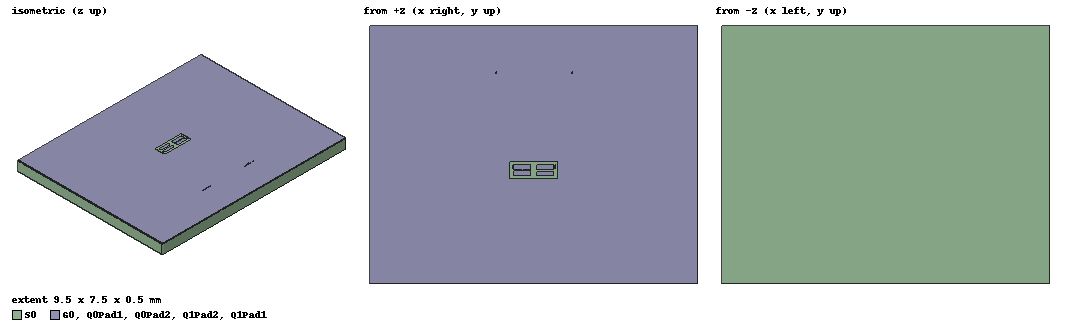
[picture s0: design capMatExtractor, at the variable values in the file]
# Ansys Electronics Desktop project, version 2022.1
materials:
  vacuum: permittivity=1
  copper: permeability=0.999991 conductivity=58000000
  silicon: permittivity=11.9
  perfect conductor: conductivity=1e+30

design capMatExtractor (Q3D Extractor, model units mm)
options: SParamCalcMethod=EqTransLine Calculate_Lossy_Dielectrics
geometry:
  S0 [silicon] = polyline(z=0um, xy in um: (-4750, -3750) (-4750, 3750) (4750, 3750) (4750, -3750) (-4750, -3750), closed, covered)
  S0.sweep_along_vector((0mm, 0mm, 500um))
  G0 [perfect conductor] = polyline(z=500um, xy in um: (-4750, -3750) (-4750, 3750) (4750, 3750) (4750, -3750) (-4750, -3750), closed, covered)
  Q0Pad1 [perfect conductor] = polyline(z=500um, xy in um: (-581, -439) (-581, -299) (-81, -299) (-81, -439) (-329, -439) (-329, -450) (-333, -450) (-333, -439) (-581, -439), closed, covered)
  Q0Pad1TrenchComponent = polyline(z=499.9um, xy in um: (-581, -439) (-581, -299) (-81, -299) (-81, -439) (-329, -439) (-329, -450) (-333, -450) (-333, -439) (-581, -439), closed, covered)
  Q0Pad1TrenchPeriphery0 = polyline(z=499.9um, xy in um: (-681, -539) (-681, -199) (19, -199) (19, -539) (-681, -539), closed, covered)
  Q0Pad1TrenchPeriphery1 = polyline(z=499.9um, xy in um: (-333, -450) (-333, -439) (-329, -439) (-329, -450) (-333, -450), closed, covered)
  Q0Pad1TrenchPeriphery0.sweep_along_vector((0mm, 0mm, 0.1um))
  S0.subtract(Q0Pad1TrenchPeriphery0)
  Q0Pad1TrenchPeriphery1.sweep_along_vector((0mm, 0mm, 0.1um))
  S0.subtract(Q0Pad1TrenchPeriphery1)
  Q0Pad1periphery0 = polyline(z=500um, xy in um: (-681, -539) (-681, -199) (19, -199) (19, -539) (-681, -539), closed, covered)
  G0.subtract(Q0Pad1periphery0)
  Q0Pad1periphery1 = polyline(z=500um, xy in um: (-333, -450) (-333, -439) (-329, -439) (-329, -450) (-333, -450), closed, covered)
  G0.subtract(Q0Pad1periphery1)
  Q0Pad2 [perfect conductor] = polyline(z=500um, xy in um: (-81, -469) (-81, -609) (-581, -609) (-581, -469) (-333, -469) (-333, -458) (-329, -458) (-329, -469) (-81, -469), closed, covered)
  Q0Pad2TrenchComponent = polyline(z=499.9um, xy in um: (-81, -469) (-81, -609) (-581, -609) (-581, -469) (-333, -469) (-333, -458) (-329, -458) (-329, -469) (-81, -469), closed, covered)
  Q0Pad2TrenchPeriphery0 = polyline(z=499.9um, xy in um: (19, -369) (19, -709) (-681, -709) (-681, -369) (19, -369), closed, covered)
  Q0Pad2TrenchPeriphery1 = polyline(z=499.9um, xy in um: (-329, -458) (-329, -469) (-333, -469) (-333, -458) (-329, -458), closed, covered)
  Q0Pad2TrenchPeriphery0.sweep_along_vector((0mm, 0mm, 0.1um))
  S0.subtract(Q0Pad2TrenchPeriphery0)
  Q0Pad2TrenchPeriphery1.sweep_along_vector((0mm, 0mm, 0.1um))
  S0.subtract(Q0Pad2TrenchPeriphery1)
  Q0Pad2periphery0 = polyline(z=500um, xy in um: (19, -369) (19, -709) (-681, -709) (-681, -369) (19, -369), closed, covered)
  G0.subtract(Q0Pad2periphery0)
  Q0Pad2periphery1 = polyline(z=500um, xy in um: (-329, -458) (-329, -469) (-333, -469) (-333, -458) (-329, -458), closed, covered)
  G0.subtract(Q0Pad2periphery1)
  Q1Pad1 [perfect conductor] = polyline(z=500um, xy in um: (81, -421) (81, -301) (581, -301) (581, -421) (333, -421) (333, -450) (329, -450) (329, -421) (81, -421), closed, covered)
  Q1Pad1TrenchComponent = polyline(z=499.9um, xy in um: (81, -421) (81, -301) (581, -301) (581, -421) (333, -421) (333, -450) (329, -450) (329, -421) (81, -421), closed, covered)
  Q1Pad1TrenchPeriphery0 = polyline(z=499.9um, xy in um: (-19, -521) (-19, -201) (681, -201) (681, -521) (-19, -521), closed, covered)
  Q1Pad1TrenchPeriphery1 = polyline(z=499.9um, xy in um: (329, -450) (329, -421) (333, -421) (333, -450) (329, -450), closed, covered)
  Q1Pad1TrenchPeriphery0.sweep_along_vector((0mm, 0mm, 0.1um))
  S0.subtract(Q1Pad1TrenchPeriphery0)
  Q1Pad1TrenchPeriphery1.sweep_along_vector((0mm, 0mm, 0.1um))
  S0.subtract(Q1Pad1TrenchPeriphery1)
  Q1Pad1periphery0 = polyline(z=500um, xy in um: (-19, -521) (-19, -201) (681, -201) (681, -521) (-19, -521), closed, covered)
  G0.subtract(Q1Pad1periphery0)
  Q1Pad1periphery1 = polyline(z=500um, xy in um: (329, -450) (329, -421) (333, -421) (333, -450) (329, -450), closed, covered)
  G0.subtract(Q1Pad1periphery1)
  Q1Pad2 [perfect conductor] = polyline(z=500um, xy in um: (581, -487) (581, -607) (81, -607) (81, -487) (329, -487) (329, -458) (333, -458) (333, -487) (581, -487), closed, covered)
  Q1Pad2TrenchComponent = polyline(z=499.9um, xy in um: (581, -487) (581, -607) (81, -607) (81, -487) (329, -487) (329, -458) (333, -458) (333, -487) (581, -487), closed, covered)
  Q1Pad2TrenchPeriphery0 = polyline(z=499.9um, xy in um: (681, -387) (681, -707) (-19, -707) (-19, -387) (681, -387), closed, covered)
  Q1Pad2TrenchPeriphery1 = polyline(z=499.9um, xy in um: (333, -458) (333, -487) (329, -487) (329, -458) (333, -458), closed, covered)
  Q1Pad2TrenchPeriphery0.sweep_along_vector((0mm, 0mm, 0.1um))
  S0.subtract(Q1Pad2TrenchPeriphery0)
  Q1Pad2TrenchPeriphery1.sweep_along_vector((0mm, 0mm, 0.1um))
  S0.subtract(Q1Pad2TrenchPeriphery1)
  Q1Pad2periphery0 = polyline(z=500um, xy in um: (681, -387) (681, -707) (-19, -707) (-19, -387) (681, -387), closed, covered)
  G0.subtract(Q1Pad2periphery0)
  Q1Pad2periphery1 = polyline(z=500um, xy in um: (333, -458) (333, -487) (329, -487) (329, -458) (333, -458), closed, covered)
  G0.subtract(Q1Pad2periphery1)
  R0Pad1 [perfect conductor] = polyline(z=500um, xy in um: (-1295.54, 2396) (-1295.54, 2406) (-895.54, 2406) (-895.54, 2396) (-1090.54, 2396) (-1090.54, 2346) (-1100.54, 2346) (-1100.54, 2396) (-1295.54, 2396), closed, covered)
  R0Pad1TrenchComponent = polyline(z=499.9um, xy in um: (-1295.54, 2396) (-1295.54, 2406) (-895.54, 2406) (-895.54, 2396) (-1090.54, 2396) (-1090.54, 2346) (-1100.54, 2346) (-1100.54, 2396) (-1295.54, 2396), closed, covered)
  R0Pad1TrenchPeriphery0 = polyline(z=499.9um, xy in um: (-1319.54, 2390) (-1319.54, 2412) (-871.54, 2412) (-871.54, 2390) (-1319.54, 2390), closed, covered)
  R0Pad1TrenchPeriphery1 = polyline(z=499.9um, xy in um: (-1106.54, 2340) (-1106.54, 2402) (-1084.54, 2402) (-1084.54, 2340) (-1106.54, 2340), closed, covered)
  R0Pad1TrenchPeriphery0.sweep_along_vector((0mm, 0mm, 0.1um))
  S0.subtract(R0Pad1TrenchPeriphery0)
  R0Pad1TrenchPeriphery1.sweep_along_vector((0mm, 0mm, 0.1um))
  S0.subtract(R0Pad1TrenchPeriphery1)
  R0Pad1periphery0 = polyline(z=500um, xy in um: (-1319.54, 2390) (-1319.54, 2412) (-871.54, 2412) (-871.54, 2390) (-1319.54, 2390), closed, covered)
  G0.subtract(R0Pad1periphery0)
  R0Pad1periphery1 = polyline(z=500um, xy in um: (-1106.54, 2340) (-1106.54, 2402) (-1084.54, 2402) (-1084.54, 2340) (-1106.54, 2340), closed, covered)
  G0.subtract(R0Pad1periphery1)
  R0Pad2 [perfect conductor] = polyline(z=500um, xy in um: (-619.01487, -300.56622) (-589.01487, -300.56911) (-589.0245, -400.56911) (-619.0245, -400.56622) (-619.02017, -355.56622) (-669.02017, -355.5614) (-669.0192, -345.5614) (-619.0192, -345.56622) (-619.01487, -300.56622), closed, covered)
  R0Pad2TrenchComponent = polyline(z=499.9um, xy in um: (-619.01487, -300.56622) (-589.01487, -300.56911) (-589.0245, -400.56911) (-619.0245, -400.56622) (-619.02017, -355.56622) (-669.02017, -355.5614) (-669.0192, -345.5614) (-619.0192, -345.56622) (-619.01487, -300.56622), closed, covered)
  R0Pad2TrenchPeriphery0 = polyline(z=499.9um, xy in um: (-649.01198, -270.56333) (-559.01198, -270.572) (-559.02739, -430.572) (-649.02739, -430.56333) (-649.01198, -270.56333), closed, covered)
  R0Pad2TrenchPeriphery1 = polyline(z=499.9um, xy in um: (-675.01862, -339.56083) (-613.01862, -339.5668) (-613.02074, -361.5668) (-675.02074, -361.56083) (-675.01862, -339.56083), closed, covered)
  R0Pad2TrenchPeriphery0.sweep_along_vector((0mm, 0mm, 0.1um))
  S0.subtract(R0Pad2TrenchPeriphery0)
  R0Pad2TrenchPeriphery1.sweep_along_vector((0mm, 0mm, 0.1um))
  S0.subtract(R0Pad2TrenchPeriphery1)
  R0Pad2periphery0 = polyline(z=500um, xy in um: (-649.01198, -270.56333) (-559.01198, -270.572) (-559.02739, -430.572) (-649.02739, -430.56333) (-649.01198, -270.56333), closed, covered)
  G0.subtract(R0Pad2periphery0)
  R0Pad2periphery1 = polyline(z=500um, xy in um: (-675.01862, -339.56083) (-613.01862, -339.5668) (-613.02074, -361.5668) (-675.02074, -361.56083) (-675.01862, -339.56083), closed, covered)
  G0.subtract(R0Pad2periphery1)
  R1Pad1 [perfect conductor] = polyline(z=500um, xy in um: (916, 2396) (916, 2406) (1316, 2406) (1316, 2396) (1121, 2396) (1121, 2346) (1111, 2346) (1111, 2396) (916, 2396), closed, covered)
  R1Pad1TrenchComponent = polyline(z=499.9um, xy in um: (916, 2396) (916, 2406) (1316, 2406) (1316, 2396) (1121, 2396) (1121, 2346) (1111, 2346) (1111, 2396) (916, 2396), closed, covered)
  R1Pad1TrenchPeriphery0 = polyline(z=499.9um, xy in um: (892, 2390) (892, 2412) (1340, 2412) (1340, 2390) (892, 2390), closed, covered)
  R1Pad1TrenchPeriphery1 = polyline(z=499.9um, xy in um: (1105, 2340) (1105, 2402) (1127, 2402) (1127, 2340) (1105, 2340), closed, covered)
  R1Pad1TrenchPeriphery0.sweep_along_vector((0mm, 0mm, 0.1um))
  S0.subtract(R1Pad1TrenchPeriphery0)
  R1Pad1TrenchPeriphery1.sweep_along_vector((0mm, 0mm, 0.1um))
  S0.subtract(R1Pad1TrenchPeriphery1)
  R1Pad1periphery0 = polyline(z=500um, xy in um: (892, 2390) (892, 2412) (1340, 2412) (1340, 2390) (892, 2390), closed, covered)
  G0.subtract(R1Pad1periphery0)
  R1Pad1periphery1 = polyline(z=500um, xy in um: (1105, 2340) (1105, 2402) (1127, 2402) (1127, 2340) (1105, 2340), closed, covered)
  G0.subtract(R1Pad1periphery1)
  R1Pad2 [perfect conductor] = polyline(z=500um, xy in um: (639.1662, -401.38455) (609.1662, -401.38744) (609.15657, -301.38744) (639.15657, -301.38455) (639.1609, -346.38455) (689.1609, -346.37973) (689.16187, -356.37973) (639.16187, -356.38455) (639.1662, -401.38455), closed, covered)
  R1Pad2TrenchComponent = polyline(z=499.9um, xy in um: (639.1662, -401.38455) (609.1662, -401.38744) (609.15657, -301.38744) (639.15657, -301.38455) (639.1609, -346.38455) (689.1609, -346.37973) (689.16187, -356.37973) (639.16187, -356.38455) (639.1662, -401.38455), closed, covered)
  R1Pad2TrenchPeriphery0 = polyline(z=499.9um, xy in um: (669.16909, -431.38166) (579.16909, -431.39033) (579.15368, -271.39033) (669.15368, -271.38166) (669.16909, -431.38166), closed, covered)
  R1Pad2TrenchPeriphery1 = polyline(z=499.9um, xy in um: (695.16244, -362.37916) (633.16244, -362.38513) (633.16033, -340.38513) (695.16033, -340.37916) (695.16244, -362.37916), closed, covered)
  R1Pad2TrenchPeriphery0.sweep_along_vector((0mm, 0mm, 0.1um))
  S0.subtract(R1Pad2TrenchPeriphery0)
  R1Pad2TrenchPeriphery1.sweep_along_vector((0mm, 0mm, 0.1um))
  S0.subtract(R1Pad2TrenchPeriphery1)
  R1Pad2periphery0 = polyline(z=500um, xy in um: (669.16909, -431.38166) (579.16909, -431.39033) (579.15368, -271.39033) (669.15368, -271.38166) (669.16909, -431.38166), closed, covered)
  G0.subtract(R1Pad2periphery0)
  R1Pad2periphery1 = polyline(z=500um, xy in um: (695.16244, -362.37916) (633.16244, -362.38513) (633.16033, -340.38513) (695.16033, -340.37916) (695.16244, -362.37916), closed, covered)
  G0.subtract(R1Pad2periphery1)
  Q0Pad1TrenchComponent.sweep_along_vector((0mm, 0mm, 0.1um))
  S0.unite(Q0Pad1TrenchComponent)
  Q0Pad2TrenchComponent.sweep_along_vector((0mm, 0mm, 0.1um))
  S0.unite(Q0Pad2TrenchComponent)
  Q1Pad1TrenchComponent.sweep_along_vector((0mm, 0mm, 0.1um))
  S0.unite(Q1Pad1TrenchComponent)
  Q1Pad2TrenchComponent.sweep_along_vector((0mm, 0mm, 0.1um))
  S0.unite(Q1Pad2TrenchComponent)
  R0Pad1TrenchComponent.sweep_along_vector((0mm, 0mm, 0.1um))
  S0.unite(R0Pad1TrenchComponent)
  R0Pad2TrenchComponent.sweep_along_vector((0mm, 0mm, 0.1um))
  S0.unite(R0Pad2TrenchComponent)
  R1Pad1TrenchComponent.sweep_along_vector((0mm, 0mm, 0.1um))
  S0.unite(R1Pad1TrenchComponent)
  R1Pad2TrenchComponent.sweep_along_vector((0mm, 0mm, 0.1um))
  S0.unite(R1Pad2TrenchComponent)
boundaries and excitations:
  ThinCondQ0Pad1: ThinConductor Objects=Q0Pad1 Material="perfect conductor" Thickness=0.1um
  ThinCondQ0Pad2: ThinConductor Objects=Q0Pad2 Material="perfect conductor" Thickness=0.1um
  ThinCondQ1Pad1: ThinConductor Objects=Q1Pad1 Material="perfect conductor" Thickness=0.1um
  ThinCondQ1Pad2: ThinConductor Objects=Q1Pad2 Material="perfect conductor" Thickness=0.1um
  ThinCondR0Pad1: ThinConductor Objects=R0Pad1 Material="perfect conductor" Thickness=0.1um
  ThinCondR0Pad2: ThinConductor Objects=R0Pad2 Material="perfect conductor" Thickness=0.1um
  ThinCondR1Pad1: ThinConductor Objects=R1Pad1 Material="perfect conductor" Thickness=0.1um
  ThinCondR1Pad2: ThinConductor Objects=R1Pad2 Material="perfect conductor" Thickness=0.1um
  ThinCondG0: ThinConductor Objects=G0 Material="perfect conductor" Thickness=0.1um
  Q0Pad1: SignalNet Objects=Q0Pad1
  Q0Pad2: SignalNet Objects=Q0Pad2
  Q1Pad1: SignalNet Objects=Q1Pad1
  Q1Pad2: SignalNet Objects=Q1Pad2
  R0Pad1: SignalNet Objects=R0Pad1
  R0Pad2: SignalNet Objects=R0Pad2
  R1Pad1: SignalNet Objects=R1Pad1
  R1Pad2: SignalNet Objects=R1Pad2
  GroundNet1: GroundNet Objects=G0
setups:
  capSim: Matrix AdaptiveFreq=5GHz Cap{MaxPass=99 MinPass=1 MinConvPass=1 PerError=1 PerRefine=100 AutoIncreaseSolutionOrder SolutionOrder=High Solver_Type=Iterative} ErrorValue=0.1
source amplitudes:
  Q0Pad1: Cap 1V 0deg
  Q0Pad2, Q1Pad1, Q1Pad2, R0Pad1, R0Pad2, R1Pad1, R1Pad2: Cap 0V 0deg
